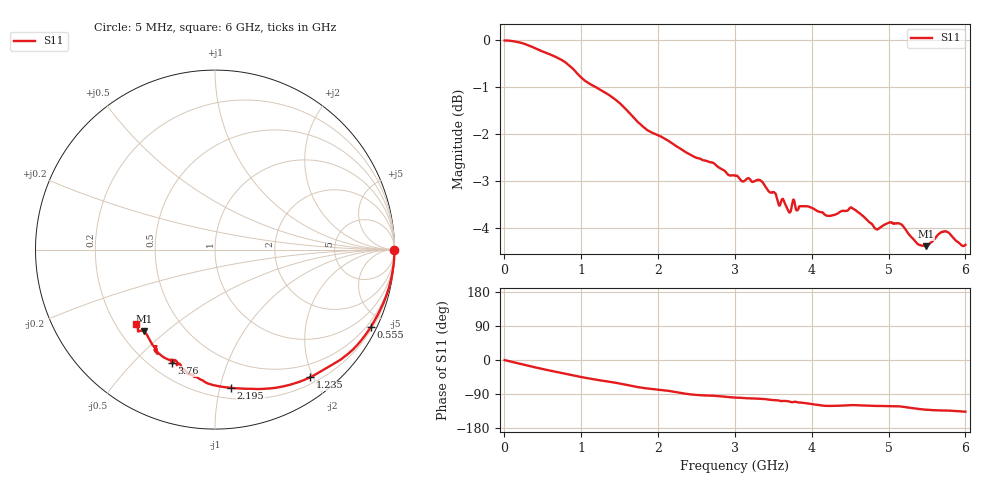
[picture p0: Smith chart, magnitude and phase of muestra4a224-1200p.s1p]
# Hz S RI R 50.000000
! Metas.Vna.Tools, 3.0.9519.15400
! Metas.Vna.Data, 3.0.9519.15360
! Created: UTC 2026.10.24 15:08:00
! FREQ  re:S1,1  im:S1,1
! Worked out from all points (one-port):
!   1200 points, 5 MHz to 6 GHz, reference 50 ohm
!   lowest |S11| = -4.4 dB at 5.485 GHz (marker M1), VSWR 4.04, Z = 14.7 - j21.1 ohm
!   |S11| at or under -10 dB: nowhere
!   S11 on the Smith chart (normalised r, x): 5 MHz: open; 555 MHz: 0.30, -4.27; 1.235 GHz: 0.29, -1.96; 2.195 GHz: 0.28, -1.08; 3.76 GHz: 0.28, -0.65; 6 GHz: 0.28, -0.37
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5000000  0.9998 -0.00415
2.5e8  0.9701 -0.209
5.55e8  0.8693 -0.4286
7.55e8  0.7834 -0.5414
9.45e8  0.6778 -0.6265
1.235e9  0.5303 -0.7114
1.505e9  0.4 -0.7577
1.79e9  0.2345 -0.7766
2.195e9  0.0904 -0.7704
2.255e9  0.0613 -0.7674
2.475e9  -0.023 -0.7508
2.75e9  -0.0601 -0.7344
3.005e9  -0.1175 -0.7074
3.34e9  -0.1532 -0.6918
3.705e9  -0.2172 -0.619
3.755e9  -0.2426 -0.6288
3.76e9  -0.2409 -0.6317
3.805e9  -0.2359 -0.6149
3.95e9  -0.2782 -0.6043
4.165e9  -0.3345 -0.5603
4.285e9  -0.336 -0.5576
4.505e9  -0.3232 -0.5792
4.835e9  -0.3262 -0.538
5.12e9  -0.3391 -0.5406
5.255e9  -0.3609 -0.5074
5.485e9  -0.397 -0.4542
5.755e9  -0.4289 -0.455
6e9  -0.4385 -0.4172
